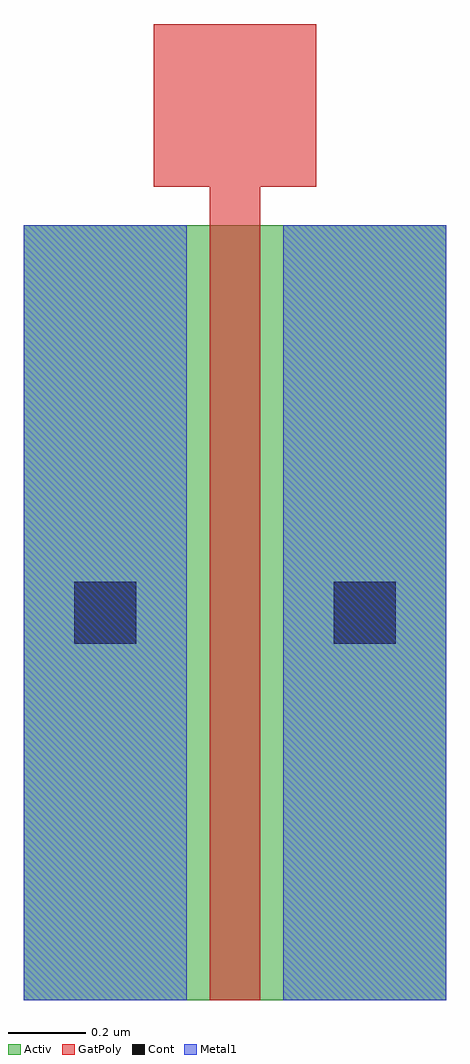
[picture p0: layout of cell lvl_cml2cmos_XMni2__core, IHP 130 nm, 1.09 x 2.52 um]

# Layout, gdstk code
import gdstk
lib = gdstk.Library(unit=1e-6, precision=1e-09)
def R(c, l, rs):  # rectangles x0, y0, x1, y1
    for r in rs: c.add(gdstk.rectangle(r[:2], r[2:], *l))
Activ = (1, 0)
GatPoly = (5, 0)
Cont = (6, 0)
Metal1 = (8, 0)

lvl_cml2cmos_xmni2__core = lib.new_cell('lvl_cml2cmos_XMni2__core')
R(lvl_cml2cmos_xmni2__core, Activ, [(0,0,1.09,2)])
R(lvl_cml2cmos_xmni2__core, GatPoly, [(0.48,0,0.61,2), (0.48,2,0.61,2.1), (0.335,2.1,0.755,2.52)])
R(lvl_cml2cmos_xmni2__core, Cont, [(0.13,0.92,0.29,1.08), (0.8,0.92,0.96,1.08)])
R(lvl_cml2cmos_xmni2__core, Metal1, [(0,0,0.42,2), (0.67,0,1.09,2)])

lib.write_gds('lvl_cml2cmos_XMni2__core.gds')
